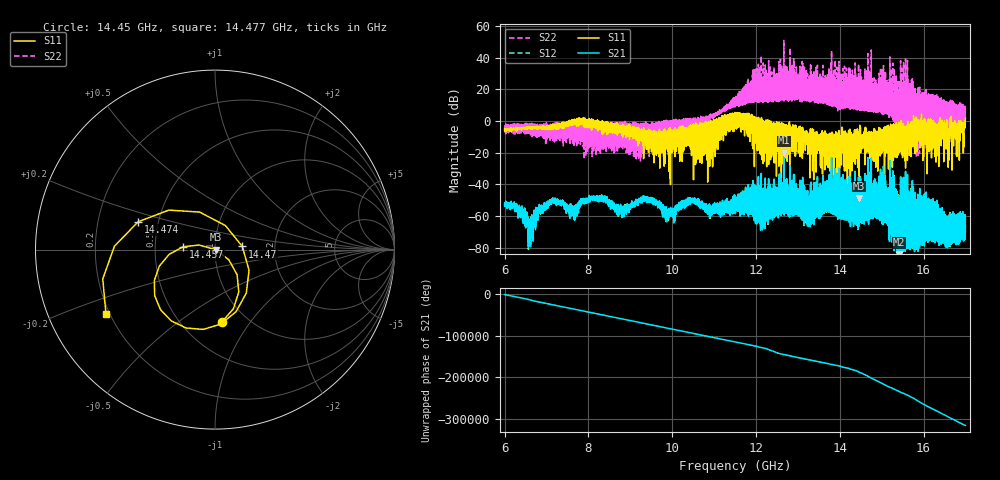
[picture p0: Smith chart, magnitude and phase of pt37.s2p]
#  HZ  S  RI  R  50.00
! Rohde & Schwarz Vector Network Analyzer
! Rohde-Schwarz,ZNA67-2Port,1332450062101215,3.01
! Created: UTC 10/15/2026, 4:11:42 PM
! freq[Hz]  re:S11  im:S11  re:S21  im:S21  re:S12  im:S12  re:S22  im:S22
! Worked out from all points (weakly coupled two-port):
!   11001 points, 6 GHz to 17 GHz, reference 50 ohm
!   highest |S21| = -20.02 dB at 12.666 GHz (marker M1); lowest = -89.0 dB at 15.412 GHz (marker M2)
!   lowest |S11| = -48.6 dB at 14.455 GHz (marker M3), VSWR 1.01, Z = 50.4 - j0.0557 ohm
!   |S11| at or under -10 dB: 13.4794 GHz to 13.51903 GHz (39.63 MHz wide, 0.294 % of centre); 13.59831 GHz to 13.64674 GHz (48.43 MHz wide, 0.355 % of centre); 13.77209 GHz to 13.81198 GHz (39.89 MHz wide, 0.289 % of centre) (the widest 3 of 526)
!   |S22| runs from -25.2 to 50.9 dB; largest |S21 - S12| = 0.0071
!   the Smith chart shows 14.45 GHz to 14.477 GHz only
!   S11 on the Smith chart (normalised r, x): 14.45 GHz: 0.77, -0.74; 14.457 GHz: 0.70, +0.02; 14.47 GHz: 1.36, +0.05; 14.474 GHz: 0.38, +0.15; 14.477 GHz: 0.19, -0.26
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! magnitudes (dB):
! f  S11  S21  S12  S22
! 6 GHz  -5.1  -52.7  -52.6  -6.2
! 6.619 GHz  -3.9  -79.4  -77.3  -8.4
! 7.117 GHz  -3.0  -50.9  -50.6  -4.0
! 7.66 GHz  -2.0  -57.9  -57.7  -4.0
! 7.834 GHz  -0.4  -51.4  -51.4  -7.1
! 9.667 GHz  -12.6  -52.1  -52.2  -3.9
! 9.883 GHz  -6.7  -57.8  -58.6  -4.6
! 10.483 GHz  -9.1  -50.5  -50.5  -0.9
! 11.5 GHz  5.2  -53.0  -52.9  10.9
! 12.164 GHz  -7.2  -58.8  -58.8  15.0
! 12.666 GHz  -17.0  -20.0  -19.8  50.9
! 13.334 GHz  -9.4  -59.6  -59.5  15.6
! 13.753 GHz  -16.0  -33.7  -34.0  32.5
! 14.45 GHz  -7.8  -54.6  -54.5  16.6
! 14.455 GHz  -48.6  -64.6  -64.9  10.0
! 14.457 GHz  -14.9  -64.0  -63.9  7.3
! 14.47 GHz  -16.3  -60.9  -60.4  9.6
! 14.474 GHz  -6.8  -56.5  -56.3  11.9
! 14.477 GHz  -3.0  -58.1  -57.2  16.0
! 15.167 GHz  -9.5  -64.1  -64.6  5.4
! 15.412 GHz  -2.4  -89.0  -88.2  -3.4
! 17 GHz  1.7  -70.1  -70.0  1.4
